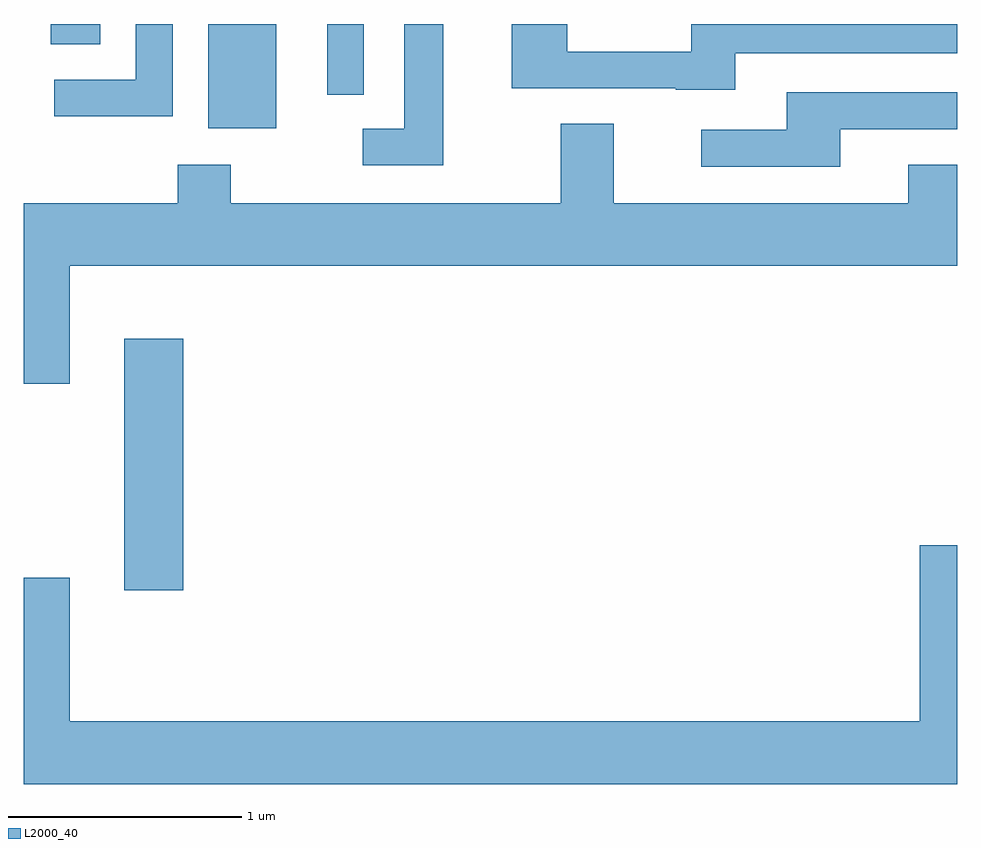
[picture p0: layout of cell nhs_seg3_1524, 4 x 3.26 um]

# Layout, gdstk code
import gdstk
lib = gdstk.Library(unit=1e-6, precision=1e-09)
def R(c, l, rs):  # rectangles x0, y0, x1, y1
    for r in rs: c.add(gdstk.rectangle(r[:2], r[2:], *l))
def P(c, l, *ps):  # polygons
    for p in ps: c.add(gdstk.Polygon(p, *l))
L2000_40 = (2000, 40)

nhs_seg3_1524 = lib.new_cell('nhs_seg3_1524')
R(nhs_seg3_1524, L2000_40, [(230.041,1173.466,230.294,1174.544), (230.401,1175.446,230.694,1175.892), (230.911,1175.588,231.069,1175.892), (229.726,1175.806,229.939,1175.892)])
P(nhs_seg3_1524, L2000_40, [(232.659,1175.766),(233.611,1175.766),(233.611,1175.892),(232.471,1175.892),(232.471,1175.774),(231.939,1175.774),(231.939,1175.892),(231.701,1175.892),(231.701,1175.616),(232.405,1175.616),(232.405,1175.611),(232.659,1175.611)],
  [(230.249,1175.892),(230.091,1175.892),(230.091,1175.654),(229.743,1175.654),(229.743,1175.496),(230.249,1175.496)],
  [(231.409,1175.892),(231.241,1175.892),(231.241,1175.444),(231.063,1175.444),(231.063,1175.286),(231.409,1175.286)],
  [(233.109,1175.441),(233.611,1175.441),(233.611,1175.599),(232.881,1175.599),(232.881,1175.439),(232.513,1175.439),(232.513,1175.281),(233.109,1175.281)],
  [(229.809,1174.856),(233.611,1174.856),(233.611,1175.289),(233.401,1175.289),(233.401,1175.124),(232.139,1175.124),(232.139,1175.464),(231.911,1175.464),(231.911,1175.124),(230.499,1175.124),(230.499,1175.289),(230.271,1175.289),(230.271,1175.124),(229.611,1175.124),(229.611,1174.351),(229.809,1174.351)],
  [(233.611,1173.659),(233.451,1173.659),(233.451,1172.904),(229.809,1172.904),(229.809,1173.519),(229.611,1173.519),(229.611,1172.636),(233.611,1172.636)])

lib.write_gds('nhs_seg3_1524.gds')
